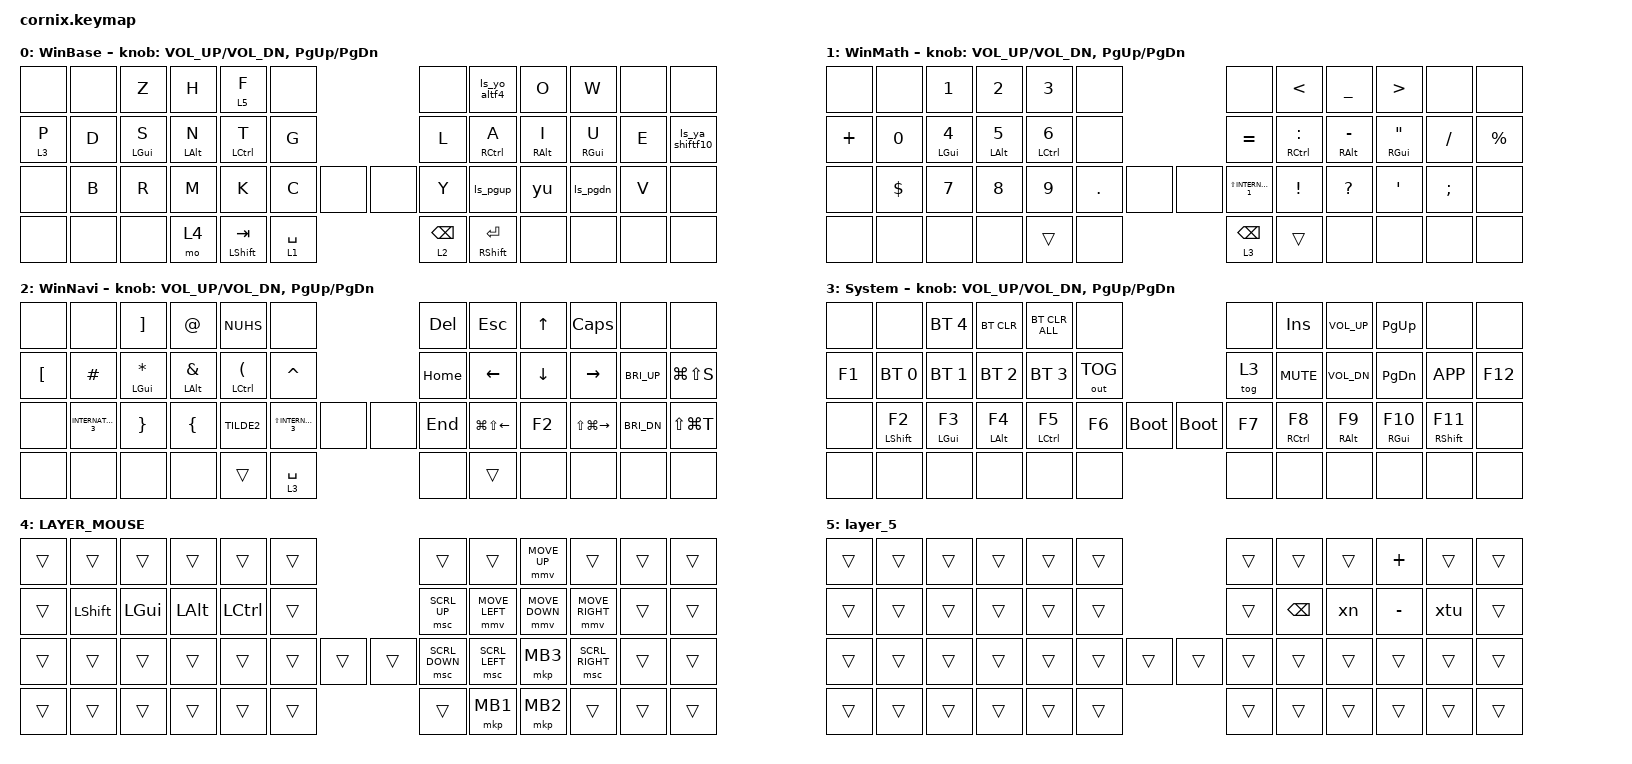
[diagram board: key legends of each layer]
/*
 * Copyright (c) 2024 The ZMK Contributors
 *
 * SPDX-License-Identifier: MIT
 */
// 定義を呼んでくる

#include <dt-bindings/zmk/mouse.h>
#include <behaviors.dtsi>
#include <dt-bindings/zmk/bt.h>
#include <dt-bindings/zmk/keys.h>
#include <dt-bindings/zmk/outputs.h>
#include <dt-bindings/zmk/pointing.h>

// 特殊入力の挙動を調整できる

&mt {
    flavor = "tap-preferred";
    tapping-term-ms = <225>;
    quick-tap-ms = <200>;
    require-prior-idle-ms = <150>;
};

&lt {
    flavor = "balanced";
    quick-tap-ms = <200>;
};

&sk {
};

&sl {
};

&caps_word {
};

&key_repeat {
};

&mmv { time-to-max-speed-ms = <400>; };

&msc { time-to-max-speed-ms = <400>; };

/ {
    // 複数キーの同時押しに特別の入力を設定できる
    // Cornix 50キー配置におけるキー番号：
    //  Row 0:  0  1  2  3  4  5                  6  7  8  9 10 11
    //  Row 1: 12 13 14 15 16 17                 18 19 20 21 22 23
    //  Row 2: 24 25 26 27 28 29  30(中) 31(中)  32 33 34 35 36 37
    //  Row 3: 38 39 40 41 42 43                 44 45 46 47 48 49

    combos {
        compatible = "zmk,combos";
        timeout-ms = <150>;
        require-prior-idle-ms = <150>;

        // 英数: X (26) + C (27)

        combo_lang2 {
            key-positions = <15 16>;
            bindings = <&kp LANG2>;
            layers = <0>;
        };

        // かな: M (34) + J (35)

        combo_lang1 {
            key-positions = <20 19>;
            bindings = <&kp LANG1>;
            layers = <0>;
        };

        combo_xn {
            bindings = <&xn>;
            key-positions = <14 15>;
            layers = <0>;
        };

        layer3 {
            bindings = <&mo 3>;
            key-positions = <43 44>;
        };

        hyphen {
            bindings = <&kp MINUS>;
            key-positions = <8 20>;
            layers = <0>;
        };

        q {
            bindings = <&kp Q>;
            key-positions = <7 19>;
            layers = <0>;
        };

        j {
            bindings = <&kp J>;
            key-positions = <34 20>;
            layers = <0>;
        };

        x {
            bindings = <&kp X>;
            key-positions = <21 9>;
            layers = <0>;
        };

        xtu {
            bindings = <&xtu>;
            key-positions = <34 35>;
        };
    };

    // キーに入力を割り当てる

    macros {
        xn: xn {
            compatible = "zmk,behavior-macro";
            #binding-cells = <0>;
            bindings = <&kp X &kp N>;
            label = "XN";
        };

        yo: yo {
            compatible = "zmk,behavior-macro";
            #binding-cells = <0>;
            bindings = <&kp Y &kp O>;
            label = "YO";
        };

        yu: yu {
            compatible = "zmk,behavior-macro";
            #binding-cells = <0>;
            bindings = <&kp Y &kp U>;
            label = "YU";
        };

        ya: ya {
            compatible = "zmk,behavior-macro";
            #binding-cells = <0>;
            bindings = <&kp Y &kp A>;
            label = "YA";
        };

        xtu: xtu {
            compatible = "zmk,behavior-macro";
            #binding-cells = <0>;
            bindings = <&kp X &kp T &kp U>;
            label = "XTU";
        };
    };

    behaviors {
        ls_pgup: ls_pgup {
            compatible = "zmk,behavior-mod-morph";
            label = "LS_PGUP";
            bindings = <&kp COMMA>, <&kp LC(PG_UP)>;

            #binding-cells = <0>;
            mods = <(MOD_LSFT)>;
        };

        ls_pgdn: ls_pgdn {
            compatible = "zmk,behavior-mod-morph";
            label = "LS_PGDN";
            bindings = <&kp DOT>, <&kp LC(PG_DN)>;

            #binding-cells = <0>;
            mods = <(MOD_LSFT)>;
        };

        ls_yo_altf4: ls_yo_altf4 {
            compatible = "zmk,behavior-mod-morph";
            label = "LS_YO_ALTF4";
            bindings = <&yo>, <&kp LA(F4)>;

            #binding-cells = <0>;
            mods = <(MOD_LSFT)>;
        };

        ls_ya_shiftf10: ls_ya_shiftf10 {
            compatible = "zmk,behavior-mod-morph";
            label = "LS_YA_SHIFTF10";
            bindings = <&ya>, <&kp LS(F10)>;

            #binding-cells = <0>;
            mods = <(MOD_LSFT)>;
        };
    };

    keymap {
        compatible = "zmk,keymap";

        layer_win_base {
            display-name = "WinBase";
            bindings = <
&none    &none  &kp Z       &kp H       &lt 5 F             &none                      &none            &ls_yo_altf4           &kp O       &kp W       &none  &none
&lt 3 P  &kp D  &mt LGUI S  &mt LALT N  &mt LCTRL T         &kp G                      &kp L            &mt RCTRL A            &mt RALT I  &mt RGUI U  &kp E  &ls_ya_shiftf10
&none    &kp B  &kp R       &kp M       &kp K               &kp C        &none  &none  &kp Y            &ls_pgup               &yu         &ls_pgdn    &kp V  &none
&none    &none  &none       &mo 4       &mt LEFT_SHIFT TAB  &lt 1 SPACE                &lt 2 BACKSPACE  &mt RIGHT_SHIFT ENTER  &none       &none       &none  &none
            >;

            sensor-bindings =
                <&inc_dec_kp C_VOL_UP C_VOL_DN>,
                <&inc_dec_kp PG_UP PG_DN>;
        };

        layer_win_math {
            display-name = "WinMath";
            bindings = <
&none     &none     &kp N1       &kp N2       &kp N3               &none                  &none                    &kp LT                   &kp UNDER       &kp GT        &none     &none
&kp PLUS  &kp N0    &mt LGUI N4  &mt LALT N5  &mt LEFT_CONTROL N6  &none                  &kp EQUAL                &mt RIGHT_CONTROL COLON  &mt RALT MINUS  &mt RGUI DQT  &kp FSLH  &kp PRCNT
&none     &kp DLLR  &kp N7       &kp N8       &kp N9               &kp DOT  &none  &none  &kp LS(INTERNATIONAL_1)  &kp EXCL                 &kp QMARK       &kp SQT       &kp SEMI  &none
&none     &none     &none        &none        &trans               &none                  &lt 3 BACKSPACE          &trans                   &none           &none         &none     &none
            >;

            sensor-bindings =
                <&inc_dec_kp C_VOL_UP C_VOL_DN>,
                <&inc_dec_kp PG_UP PG_DN>;
        };

        layer_win_navi {
            display-name = "WinNavi";
            bindings = <
&none     &none                &kp RBKT       &kp AT         &kp NUHS               &none                                  &kp DEL   &kp ESC           &kp UP    &kp CAPS           &none         &none
&kp LBKT  &kp HASH             &mt LGUI STAR  &mt LALT AMPS  &mt LEFT_CONTROL LPAR  &kp CARET                              &kp HOME  &kp LEFT          &kp DOWN  &kp RIGHT          &kp C_BRI_UP  &kp LG(LS(S))
&none     &kp INTERNATIONAL_3  &kp RBRC       &kp LBRC       &kp TILDE2             &kp LS(INTERNATIONAL_3)  &none  &none  &kp END   &kp LG(LS(LEFT))  &kp F2    &kp LS(LG(RIGHT))  &kp C_BRI_DN  &kp LS(LG(T))
&none     &none                &none          &none          &trans                 &lt 3 SPACE                            &none     &trans            &none     &none              &none         &none
            >;

            sensor-bindings =
                <&inc_dec_kp C_VOL_UP C_VOL_DN>,
                <&inc_dec_kp PG_UP PG_DN>;
        };

        layer_system {
            display-name = "System";
            bindings = <
&none   &none          &bt BT_SEL 4     &bt BT_CLR       &bt BT_CLR_ALL       &none                                   &none   &kp INS               &kp C_VOL_UP      &kp PG_UP          &none                &none
&kp F1  &bt BT_SEL 0   &bt BT_SEL 1     &bt BT_SEL 2     &bt BT_SEL 3         &out OUT_TOG                            &tog 3  &kp K_MUTE            &kp C_VOL_DN      &kp PG_DN          &kp K_APP            &kp F12
&none   &mt LSHIFT F2  &mt LEFT_GUI F3  &mt LEFT_ALT F4  &mt LEFT_CONTROL F5  &kp F6        &bootloader  &bootloader  &kp F7  &mt RIGHT_CONTROL F8  &mt RIGHT_ALT F9  &mt RIGHT_GUI F10  &mt RIGHT_SHIFT F11  &none
&none   &none          &none            &none            &none                &none                                   &none   &none                 &none             &none              &none                &none
            >;

            sensor-bindings =
                <&inc_dec_kp C_VOL_UP C_VOL_DN>,
                <&inc_dec_kp PG_UP PG_DN>;
        };

        LAYER_MOUSE {
            bindings = <
&trans  &trans          &trans        &trans        &trans     &trans                  &trans          &trans          &mmv MOVE_UP    &trans           &trans  &trans
&trans  &kp LEFT_SHIFT  &kp LEFT_GUI  &kp LEFT_ALT  &kp LCTRL  &trans                  &msc SCRL_UP    &mmv MOVE_LEFT  &mmv MOVE_DOWN  &mmv MOVE_RIGHT  &trans  &trans
&trans  &trans          &trans        &trans        &trans     &trans  &trans  &trans  &msc SCRL_DOWN  &msc SCRL_LEFT  &mkp MB3        &msc SCRL_RIGHT  &trans  &trans
&trans  &trans          &trans        &trans        &trans     &trans                  &trans          &mkp MB1        &mkp MB2        &trans           &trans  &trans
            >;
        };

        layer_5 {
            bindings = <
&trans  &trans  &trans  &trans  &trans  &trans                  &trans  &trans         &trans  &kp PLUS   &trans  &trans
&trans  &trans  &trans  &trans  &trans  &trans                  &trans  &kp BACKSPACE  &xn     &kp MINUS  &xtu    &trans
&trans  &trans  &trans  &trans  &trans  &trans  &trans  &trans  &trans  &trans         &trans  &trans     &trans  &trans
&trans  &trans  &trans  &trans  &trans  &trans                  &trans  &trans         &trans  &trans     &trans  &trans
            >;
        };
    };
};
